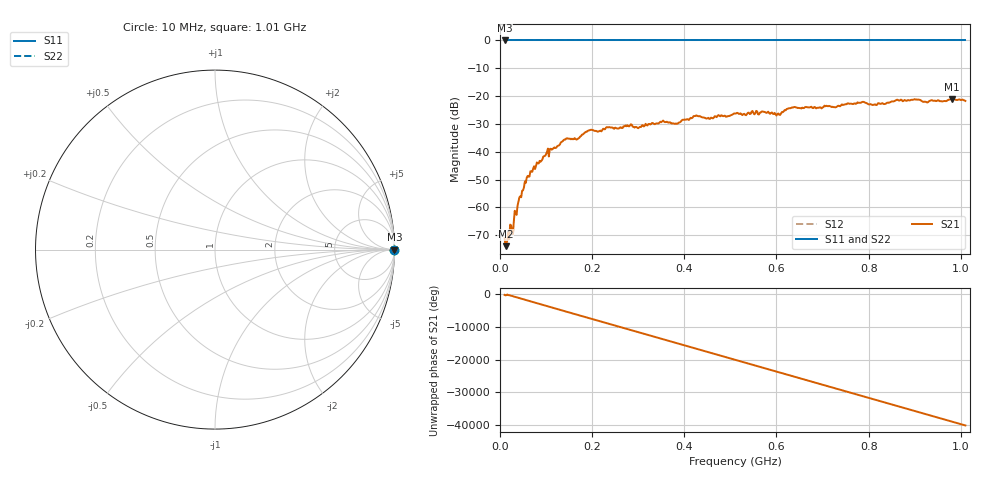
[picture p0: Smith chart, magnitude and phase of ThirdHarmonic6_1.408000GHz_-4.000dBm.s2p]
! 8/16/2025 4:07:32 PM
! C:\ANRITSUVNA\TEMP\TEMP.S2P
! CHANNEL.1
! TR.MEASUREMENT
! RAW.DATA
! RF.CORRECTION.OFF
! AVERAGING.OFF
! IF.BANDWIDTH: 5KHZ
! SWEEPTYPE:  FREQ.SWEEP(Linear)
! Reference Plane Port Info
! PORT:  PORT1  PORT2
! DISTANCE:  0  m  0  m
! TIME:  0  s  0  s
! PHASE.OFFSET:  0  deg.  0  deg.
! LOSS:  0  dB  0  dB
! REF.LOSS:  0  dB  0  dB
! REF.FREQ:  0  Hz  0  Hz
! Power Info
! POWER:  -20  dBm  -20  dBm
! EFF.POWER:  -20  dBm  -20  dBm
! SOURCE.ATTEN:  0  dB  0  dB
! TEST.ATTEN:  0  dB  0  dB
# GHZ S RI R 50.0
! FREQ.GHZ  S11RE  S11IM  S21RE  S21IM  S12RE  S12IM  S22RE  S22IM
!; PortSelection: Port_12
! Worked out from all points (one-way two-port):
!   501 points, 10 MHz to 1.01 GHz, reference 50 ohm
!   highest |S21| = -21.07 dB at 980 MHz (marker M1); lowest = -73.9 dB at 12 MHz (marker M2)
!   lowest |S11| = 0.0 dB at 10 MHz (marker M3)
!   |S11| at or under -10 dB: nowhere
!   |S22| runs from 0.0 to 0.0 dB; largest |S21 - S12| = 1.1
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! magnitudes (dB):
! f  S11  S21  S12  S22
! 10 MHz  0.0  -71.1  0.0  0.0
! 12 MHz  0.0  -73.9  0.0  0.0
! 24 MHz  0.0  -66.4  0.0  0.0
! 42 MHz  0.0  -56.4  0.0  0.0
! 56 MHz  0.0  -51.2  0.0  0.0
! 70 MHz  0.0  -47.2  0.0  0.0
! 100 MHz  0.0  -40.9  0.0  0.0
! 136 MHz  0.0  -36.2  0.0  0.0
! 178 MHz  0.0  -33.8  0.0  0.0
! 234 MHz  0.0  -31.2  0.0  0.0
! 302 MHz  0.0  -31.2  0.0  0.0
! 344 MHz  0.0  -29.8  0.0  0.0
! 382 MHz  0.0  -29.8  0.0  0.0
! 424 MHz  0.0  -27.1  0.0  0.0
! 458 MHz  0.0  -27.7  0.0  0.0
! 510 MHz  0.0  -26.3  0.0  0.0
! 604 MHz  0.0  -26.3  0.0  0.0
! 636 MHz  0.0  -24.1  0.0  0.0
! 678 MHz  0.0  -24.3  0.0  0.0
! 844 MHz  0.0  -22.4  0.0  0.0
! 980 MHz  0.0  -21.1  0.0  0.0
! 1.01 GHz  0.0  -21.7  0.0  0.0
